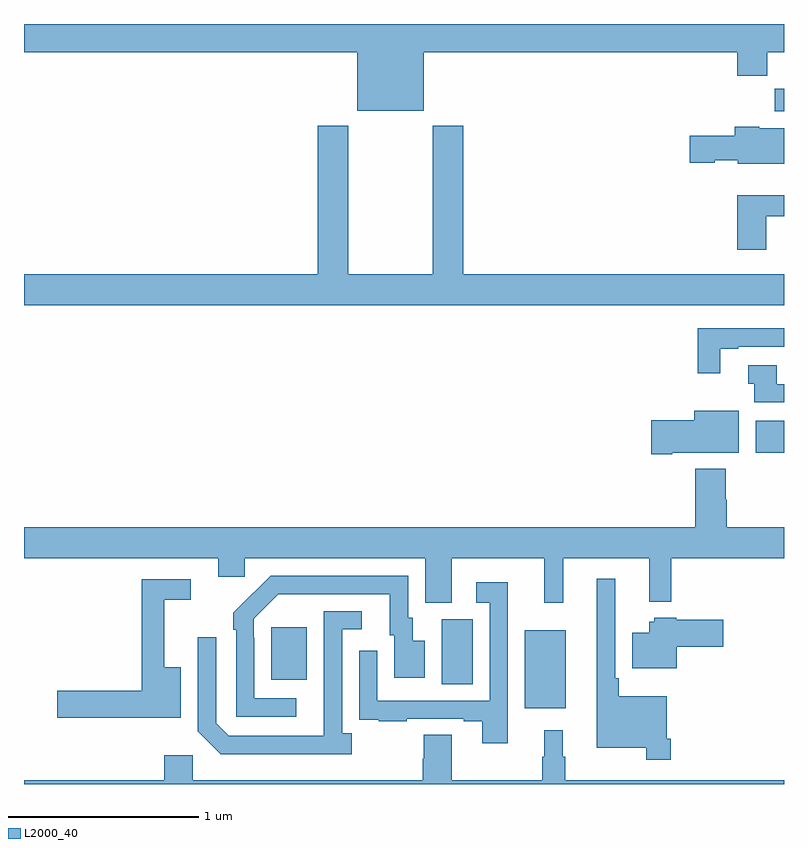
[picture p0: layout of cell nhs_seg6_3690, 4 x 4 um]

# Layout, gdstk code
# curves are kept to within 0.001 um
import gdstk
lib = gdstk.Library(unit=1e-6, precision=1e-09)
def R(c, l, rs):  # rectangles x0, y0, x1, y1
    for r in rs: c.add(gdstk.rectangle(r[:2], r[2:], *l))
def P(c, l, *ps):  # polygons
    for p in ps: c.add(gdstk.Polygon(p, *l))
L2000_40 = (2000, 40)

nhs_seg6_3690 = lib.new_cell('nhs_seg6_3690')
R(nhs_seg6_3690, L2000_40, [(329.636,927.899,329.851,928.309), (329.198,928.024,329.362,928.368), (328.301,928.049,328.489,928.324), (330.851,929.243,331,929.413), (330.952,931.04,331,931.159)])
P(nhs_seg6_3690, L2000_40, [(329.104,931.352),(330.755,931.352),(330.755,931.228),(330.911,931.228),(330.911,931.352),(331,931.352),(331,931.5),(327,931.5),(327,931.352),(328.754,931.352),(328.754,931.043),(329.104,931.043)],
  [(331,930.184),(329.312,930.184),(329.312,930.964),(329.152,930.964),(329.152,930.184),(328.707,930.184),(328.707,930.964),(328.547,930.964),(328.547,930.184),(327,930.184),(327,930.02),(331,930.02)],
  [(331,930.952),(330.87,930.952),(330.87,930.958),(330.74,930.958),(330.74,930.912),(330.504,930.912),(330.504,930.77),(330.636,930.77),(330.636,930.782),(330.756,930.782),(330.756,930.764),(331,930.764)],
  [(330.907,930.489),(331,930.489),(331,930.598),(330.755,930.598),(330.755,930.312),(330.907,930.312)],
  [(330.664,929.79),(330.76,929.79),(330.76,929.802),(331,929.802),(331,929.898),(330.547,929.898),(330.547,929.661),(330.664,929.661)],
  [(331,929.604),(330.961,929.604),(330.961,929.703),(330.813,929.703),(330.813,929.606),(330.844,929.606),(330.844,929.508),(331,929.508)],
  [(330.412,929.243),(330.763,929.243),(330.763,929.464),(330.527,929.464),(330.527,929.414),(330.3,929.414),(330.3,929.236),(330.412,929.236)],
  [(329.251,928.688),(329.738,928.688),(329.738,928.455),(329.837,928.455),(329.837,928.688),(330.29,928.688),(330.29,928.46),(330.407,928.46),(330.407,928.688),(331,928.688),(331,928.852),(330.698,928.852),(330.698,928.997),(330.693,928.997),(330.693,929.158),(330.533,929.158),(330.533,928.852),(327,928.852),(327,928.688),(328.022,928.688),(328.022,928.59),(328.161,928.59),(328.161,928.688),(329.111,928.688),(329.111,928.453),(329.251,928.453)],
  [(328.432,927.951),(328.212,927.951),(328.212,928.271),(328.209,928.271),(328.209,928.371),(328.338,928.5),(328.925,928.5),(328.925,928.284),(328.949,928.284),(328.949,928.059),(329.11,928.059),(329.11,928.255),(329.047,928.255),(329.047,928.374),(329.022,928.374),(329.022,928.596),(328.298,928.596),(328.101,928.401),(328.101,928.313),(328.116,928.313),(328.116,927.855),(328.432,927.855)],
  [(330.404,927.739),(330.384,927.739),(330.384,927.961),(330.131,927.961),(330.131,928.057),(330.111,928.057),(330.111,928.579),(330.014,928.579),(330.014,927.692),(330.276,927.692),(330.276,927.627),(330.404,927.627)],
  [(327.826,928.114),(327.737,928.114),(327.737,928.47),(327.877,928.47),(327.877,928.578),(327.619,928.578),(327.619,927.992),(327.174,927.992),(327.174,927.85),(327.826,927.85)],
  [(329.547,928.561),(329.379,928.561),(329.379,928.455),(329.451,928.455),(329.451,927.939),(328.86,927.939),(328.86,928.201),(328.764,928.201),(328.764,927.946),(328.765,927.946),(328.765,927.837),(328.867,927.837),(328.867,927.831),(329.015,927.831),(329.015,927.843),(329.315,927.843),(329.315,927.831),(329.411,927.831),(329.411,927.714),(329.547,927.714)],
  [(328.726,927.766),(328.674,927.766),(328.674,928.314),(328.777,928.314),(328.777,928.41),(328.578,928.41),(328.577,927.753),(328.077,927.753),(328.011,927.819),(328.011,928.273),(327.915,928.273),(327.915,927.777),(328.036,927.656),(328.726,927.656)],
  [(330.436,928.223),(330.679,928.223),(330.679,928.365),(330.432,928.365),(330.432,928.375),(330.318,928.375),(330.318,928.353),(330.29,928.353),(330.29,928.297),(330.2,928.297),(330.2,928.109),(330.436,928.109)],
  [(331,927.52),(329.848,927.52),(329.848,927.644),(329.836,927.644),(329.836,927.784),(329.738,927.784),(329.738,927.644),(329.727,927.644),(329.727,927.52),(329.251,927.52),(329.251,927.758),(329.104,927.758),(329.104,927.633),(329.099,927.633),(329.099,927.52),(327.888,927.52),(327.888,927.652),(327.737,927.652),(327.737,927.52),(327,927.52),(327,927.5),(331,927.5)])

lib.write_gds('nhs_seg6_3690.gds')
